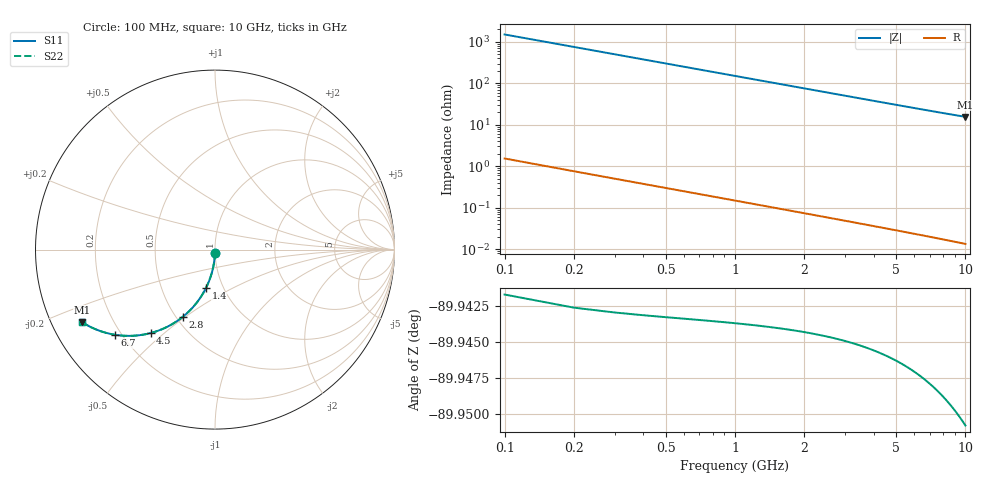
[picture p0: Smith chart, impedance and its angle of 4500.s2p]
# Hz S RI R 50.00
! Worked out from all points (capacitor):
!   100 points, 100 MHz to 10 GHz, reference 50 ohm
!   read as one part in shunt: C = 1.05 pF near 100 MHz
!   lowest |Z| = 15.6 ohm at 10 GHz (marker M1)
!   S11 on the Smith chart (normalised r, x): 100 MHz: 1.00, -0.03; 1.4 GHz: 0.83, -0.37; 2.8 GHz: 0.54, -0.49; 4.5 GHz: 0.32, -0.45; 6.7 GHz: 0.18, -0.36; 10 GHz: 0.09, -0.25
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1e8  -0.000217 -0.0162  0.9996 -0.0168  0.9996 -0.0168  -0.000217 -0.0162
2e8  -0.00105 -0.0324  0.9988 -0.0336  0.9988 -0.0336  -0.00105 -0.0324
3e8  -0.00243 -0.0485  0.9974 -0.0504  0.9974 -0.0504  -0.00243 -0.0485
4e8  -0.00434 -0.0646  0.9955 -0.0671  0.9955 -0.0671  -0.00434 -0.0646
5e8  -0.00679 -0.0805  0.9931 -0.0836  0.9931 -0.0836  -0.00679 -0.0805
6e8  -0.00976 -0.0963  0.9901 -0.1001  0.9901 -0.1001  -0.00976 -0.0963
7e8  -0.0132 -0.112  0.9866 -0.1163  0.9866 -0.1163  -0.0132 -0.112
9e8  -0.0217 -0.1427  0.9781 -0.1483  0.9781 -0.1483  -0.0217 -0.1427
1.1e9  -0.0321 -0.1726  0.9677 -0.1795  0.9677 -0.1795  -0.0321 -0.1726
1.4e9  -0.051 -0.2153  0.9488 -0.2241  0.9488 -0.2241  -0.051 -0.2153
1.8e9  -0.0816 -0.2678  0.9181 -0.2791  0.9181 -0.2791  -0.0816 -0.2678
2.3e9  -0.1269 -0.3252  0.8729 -0.3397  0.8729 -0.3397  -0.1269 -0.3252
2.8e9  -0.1774 -0.3728  0.8223 -0.3905  0.8223 -0.3905  -0.1774 -0.3728
3.4e9  -0.2417 -0.417  0.758 -0.4384  0.758 -0.4384  -0.2417 -0.417
3.9e9  -0.2958 -0.4436  0.7037 -0.4684  0.7037 -0.4684  -0.2958 -0.4436
4.5e9  -0.3593 -0.4651  0.6402 -0.4937  0.6402 -0.4937  -0.3593 -0.4651
5.1e9  -0.4193 -0.4767  0.58 -0.5093  0.58 -0.5093  -0.4193 -0.4767
5.8e9  -0.4838 -0.4807  0.5154 -0.5178  0.5154 -0.5178  -0.4838 -0.4807
6.7e9  -0.5568 -0.4746  0.4421 -0.5178  0.4421 -0.5178  -0.5568 -0.4746
7.5e9  -0.6126 -0.4622  0.3861 -0.5107  0.3861 -0.5107  -0.6126 -0.4622
8.4e9  -0.666 -0.4435  0.3324 -0.4982  0.3324 -0.4982  -0.666 -0.4435
1e10  -0.7405 -0.4043  0.2572 -0.4701  0.2572 -0.4701  -0.7405 -0.4043
